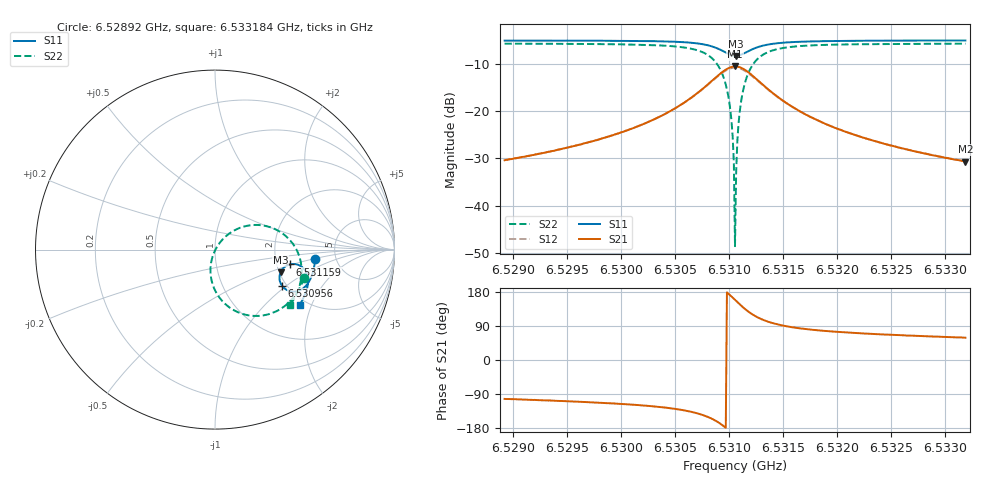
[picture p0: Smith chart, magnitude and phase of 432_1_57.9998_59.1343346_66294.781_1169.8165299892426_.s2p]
#  HZ  S  RI  R  50.00
! Rohde & Schwarz Vector Network Analyzer
! Rohde-Schwarz,ZNB20-2Port,1311601062101988,3.16
! Created: UTC 3/21/2024, 1:09:41 AM
! freq[Hz]  re:S11  im:S11  re:S21  im:S21  re:S12  im:S12  re:S22  im:S22
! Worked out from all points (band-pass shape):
!   401 points, 6.52892 GHz to 6.533184 GHz, reference 50 ohm
!   highest |S21| = -10.50 dB at 6.531052 GHz (marker M1); lowest = -30.7 dB at 6.533184 GHz (marker M2)
!   |S21| within 3 dB of the highest: 6.530841 GHz to 6.531267 GHz (425.5 kHz wide, 0.00652 % of centre)
!   lowest |S11| = -8.3 dB at 6.531063 GHz (marker M3), VSWR 2.26, Z = 101 - j30.3 ohm
!   |S11| at or under -10 dB: nowhere
!   |S22| runs from -48.6 to -5.7 dB; largest |S21 - S12| = 0.011
!   S11 on the Smith chart (normalised r, x): 6.52892 GHz: 3.46, -0.55; 6.530956 GHz: 1.89, -0.93; 6.531159 GHz: 2.36, -0.47; 6.533184 GHz: 1.82, -1.64
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6.5289202e9  0.5584 -0.0549  -0.00663 -0.0295  -0.0072 -0.0295  0.4959 -0.1579
6.5296345e9  0.5484 -0.114  -0.0157 -0.0418  -0.0166 -0.0418  0.466 -0.2237
6.5303487e9  0.5205 -0.1837  -0.0482 -0.0721  -0.0503 -0.0709  0.3873 -0.3154
6.5307752e9  0.4516 -0.2331  -0.153 -0.0979  -0.1551 -0.092  0.186 -0.3661
6.5308818e9  0.408 -0.2284  -0.2206 -0.0728  -0.2199 -0.0638  0.0702 -0.3143
6.5309564e9  0.374 -0.2023  -0.2707 -0.0163  -0.2655 -0.00708  -0.00673 -0.2115
6.5309884e9  0.3636 -0.1828  -0.2844 0.0211  -0.2768 0.0293  -0.0235 -0.1466
6.5310097e9  0.3598 -0.1675  -0.2878 0.0494  -0.279 0.0564  -0.025 -0.0992
6.5310203e9  0.3591 -0.1594  -0.2875 0.0642  -0.2782 0.0704  -0.0221 -0.0749
6.531031e9  0.3591 -0.1512  -0.2858 0.0791  -0.2761 0.0845  -0.0169 -0.0506
6.5310417e9  0.3603 -0.1431  -0.2827 0.0939  -0.2726 0.0984  -0.00927 -0.0267
6.5310523e9  0.3622 -0.1349  -0.278 0.1084  -0.2676 0.1119  0.000741 -0.00363
6.531063e9  0.3649 -0.1271  -0.2717 0.1223  -0.2615 0.1249  0.0129 0.0184
6.5310737e9  0.3686 -0.1196  -0.2643 0.1355  -0.2541 0.1372  0.0273 0.0388
6.5310843e9  0.373 -0.1126  -0.2557 0.148  -0.2458 0.1488  0.0434 0.0578
6.5311056e9  0.3834 -0.1005  -0.2354 0.1695  -0.2262 0.1687  0.08 0.0899
6.5311589e9  0.4156 -0.0827  -0.1766 0.2012  -0.1704 0.1982  0.1822 0.1332
6.5312336e9  0.4574 -0.083  -0.1032 0.2038  -0.0998 0.2008  0.3065 0.1252
6.5313402e9  0.4938 -0.1053  -0.0397 0.1738  -0.0382 0.1721  0.4102 0.0604
6.5317666e9  0.5185 -0.1845  0.0151 0.0839  0.016 0.0837  0.4829 -0.1281
6.5324809e9  0.4987 -0.2563  0.0172 0.0401  0.018 0.04  0.4555 -0.2445
6.5331845e9  0.4712 -0.308  0.0152 0.0251  0.0158 0.025  0.4202 -0.306
